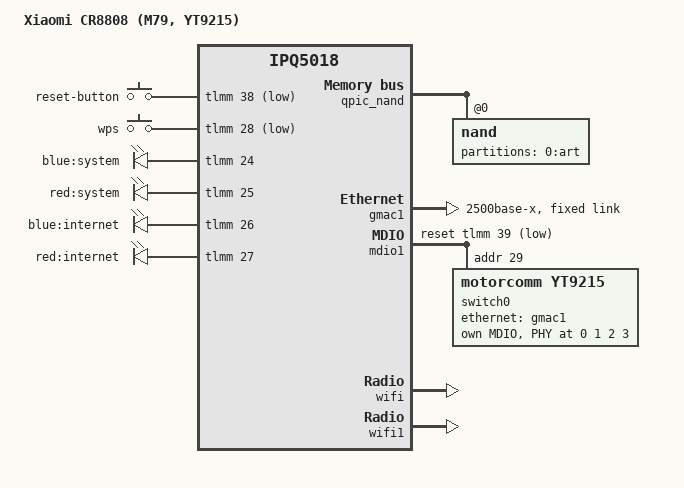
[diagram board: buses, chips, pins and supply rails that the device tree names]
// SPDX-License-Identifier: GPL-2.0-or-later OR MIT
/*
 * Xiaomi CR8808, board revision M79 with Motorcomm YT9215 switch
 * ("M79-YT"), merged single-rootfs NAND layout (partition table in SMEM).
 *
 * Based on ipq5018-cr880x.dtsi (QCA8337 boards). Everything that differs on
 * this board was taken from the device tree of the vendor/NWRT firmware
 * running on the unit:
 *   - switch: YT9215 @ MDIO1 0x1d, reset GPIO 39, CPU port 8 = 2500base-x
 *   - UART on GPIO 20/21 (blsp0_uart0), not 28/29
 *   - QCN6102 reset GPIO 18 (boot-args), not 27
 *   - LEDs on GPIO 24/25/26/27, buttons reset=38, wps=28
 *   - NAND ECC 4 bit / 512 (as written by vendor U-Boot and NWRT)
 *   - WiFi BDFs bdwlan.b23 (IPQ5018) / bdwlan.b60 (QCN6122), shipped in our
 *     own board-2.bin under the variant below
 */

/dts-v1/;

#include "ipq5018-cr880x.dtsi"

/ {
	model = "Xiaomi CR8808 (M79, YT9215)";
	compatible = "xiaomi,cr8808-m79yt", "qcom,ipq5018";

	aliases {
		label-mac-device = &gmac1;
	};

	keys {
		reset-button {
			gpios = <&tlmm 38 GPIO_ACTIVE_LOW>;
		};

		mesh-button {
			label = "wps";
			gpios = <&tlmm 28 GPIO_ACTIVE_LOW>;
		};
	};
};

/* LEDs: GPIO map of this board (NWRT: sysb 24, sysy 25, internet 26, localnet 27) */
&led_system_blue {
	gpios = <&tlmm 24 GPIO_ACTIVE_HIGH>;
	label = "blue:system";
};

&led_system_yellow {
	gpios = <&tlmm 25 GPIO_ACTIVE_HIGH>;
	label = "red:system";
};

/* Colour of 26/27 to be confirmed on the unit (NWRT names: internet, localnet) */
&led_internet_blue {
	gpios = <&tlmm 26 GPIO_ACTIVE_HIGH>;
	label = "blue:internet";
};

&led_internet_yellow {
	gpios = <&tlmm 27 GPIO_ACTIVE_HIGH>;
	label = "red:internet";
};

&led_pins {
	pins = "gpio24", "gpio25", "gpio26", "gpio27";
};

&button_pins {
	pins = "gpio28", "gpio38";
};

&serial_0_pins {
	pins = "gpio20", "gpio21";
	function = "blsp0_uart0";
};

&qpic_nand {
	nand@0 {
		/* This unit's U-Boot and NWRT use 4-bit ECC (mtd ecc_strength=4) */
		nand-ecc-strength = <4>;

		partitions {
			compatible = "qcom,smem-part";

			partition-art {
				label = "0:art";
				read-only;

				nvmem-layout {
					compatible = "fixed-layout";
					#address-cells = <1>;
					#size-cells = <1>;

					/* 50:88:11:..:..:c1 on this unit: WAN */
					macaddr_art_0: mac-address@0 {
						compatible = "mac-base";
						reg = <0x0 0x6>;
						#nvmem-cell-cells = <1>;
					};

					/* 44:f7:70:..:..:c7 on this unit: LAN */
					macaddr_art_6: mac-address@6 {
						compatible = "mac-base";
						reg = <0x6 0x6>;
						#nvmem-cell-cells = <1>;
					};
				};
			};
		};
	};
};

/* MAC1 runs 2500base-x (HSGMII) to YT9215 port 8: 50 MHz reference, as on AX6000 */
&uniphy0 {
	assigned-clock-rates = <UNIPHY_REFCLK_50MHZ>;
};

&gmac1 {
	phy-mode = "2500base-x";

	fixed-link {
		speed = <2500>;
		pause;
	};
};

&mdio1 {
	reset-gpios = <&tlmm 39 GPIO_ACTIVE_LOW>;
	reset-delay-us = <10000>;
	reset-post-delay-us = <50000>;

	/delete-node/ ethernet-switch@17;
	/delete-node/ ethernet-phy@0;
	/delete-node/ ethernet-phy@1;
	/delete-node/ ethernet-phy@2;
	/delete-node/ ethernet-phy@3;
	/delete-node/ ethernet-phy@4;

	switch0: ethernet-switch@1d {
		compatible = "motorcomm,yt9215";
		reg = <0x1d>;

		/* Internal PHYs of the YT9215 (driver looks up the "mdio" child) */
		mdio {
			#address-cells = <1>;
			#size-cells = <0>;

			yt_phy0: ethernet-phy@0 {
				reg = <0>;
			};

			yt_phy1: ethernet-phy@1 {
				reg = <1>;
			};

			yt_phy2: ethernet-phy@2 {
				reg = <2>;
			};

			yt_phy3: ethernet-phy@3 {
				reg = <3>;
			};
		};

		ethernet-ports {
			#address-cells = <1>;
			#size-cells = <0>;

			/* LAN = ports 0,1,2 and WAN = port 3, as in NWRT (VLAN1 0-2, VLAN2 3). */
			/* Physical lan1..lan3 order to be confirmed on the unit.               */
			ethernet-port@0 {
				reg = <0>;
				label = "lan1";
				phy-handle = <&yt_phy0>;
				phy-mode = "internal";
			};

			ethernet-port@1 {
				reg = <1>;
				label = "lan2";
				phy-handle = <&yt_phy1>;
				phy-mode = "internal";
			};

			ethernet-port@2 {
				reg = <2>;
				label = "lan3";
				phy-handle = <&yt_phy2>;
				phy-mode = "internal";
			};

			ethernet-port@3 {
				reg = <3>;
				label = "wan";
				phy-handle = <&yt_phy3>;
				phy-mode = "internal";

				nvmem-cells = <&macaddr_art_0 0>;
				nvmem-cell-names = "mac-address";
			};

			/*
			 * Port 4 is the internal link to the IPQ5018 GE PHY (NWRT's WAN
			 * path through eth0). All user ports use conduit eth1 here, so
			 * it is left out, like port 5 on the QCA8337 boards.
			 */

			ethernet-port@8 {
				reg = <8>;
				phy-mode = "2500base-x";
				ethernet = <&gmac1>;

				fixed-link {
					speed = <2500>;
					full-duplex;
					pause;
				};
			};
		};
	};
};

&q6v5_wcss {
	/* QCN6102 on PCIe1, user PD 2, reset on GPIO 18 (vendor DT: 2 4 2 0x12 0 0) */
	boot-args = </*       type:	*/ 0x2 /* PCIE1	*/
		     /*     length:	*/ 4
		     /*     UPD ID:	*/ 2
		     /* reset GPIO:	*/ 18
		     /*   reserved:	*/ 0 0>;
};

&wifi {
	qcom,ath11k-calibration-variant = "Xiaomi-CR8808-M79YT";
};

&wifi1 {
	qcom,ath11k-calibration-variant = "Xiaomi-CR8808-M79YT";
};
